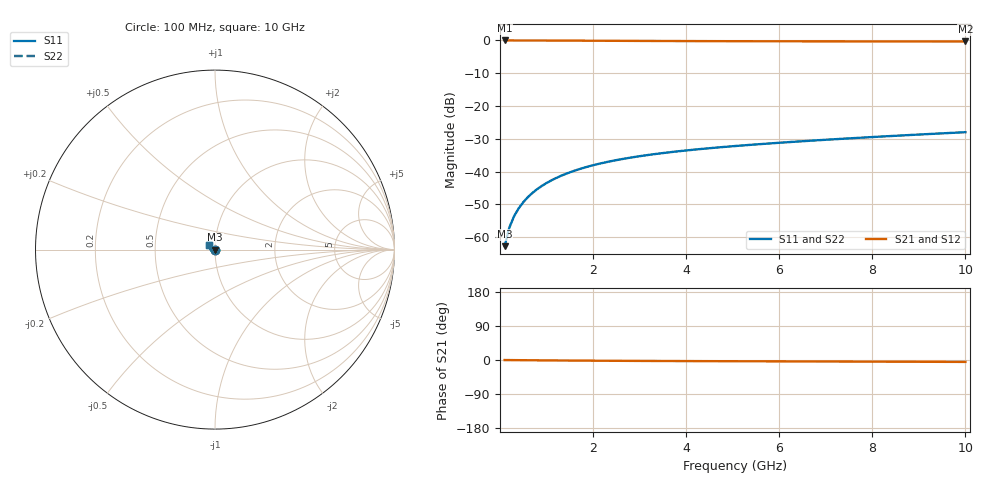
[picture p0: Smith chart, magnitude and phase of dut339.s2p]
! Touchstone file exported from HFSS 2024.1.0
!  File:  C:/UserFiles/LocalFiles/RDL_TSV_Batchsim/temp_TSV1_339_1779618813.aedt
!  Generated:  06:40:05 PM May 24, 2026
!  Design:  TSV1
!  Project:  temp_TSV1_339_1779618813
!  Setup:  Setup1
!  Solution:  Sweep
! Variables:
!  dtsv = 7.28um
!  hbump = 3um
!  htsv = 72.21um
!  lrdl = 252.1521522um
!  p = 40
!  p1 = 59.44um
!  t = 500um
!  trdl = 3um
!  wrdl = 24.89489489um
# GHz S MA R 50.000000
! Terminal data exported
! Port[1] = TSV22_T1
! Port[2] = TSV22_T2
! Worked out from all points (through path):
!   100 points, 100 MHz to 10 GHz, reference 50 ohm
!   highest |S21| = 0.00 dB at 100 MHz (marker M1); lowest = -0.3 dB at 10 GHz (marker M2)
!   lowest |S11| = -62.7 dB at 100 MHz (marker M3), VSWR 1.00, Z = 50 - j0.0696 ohm
!   |S11| at or under -10 dB: start of sweep to end of sweep
!   |S22| runs from -62.7 to -28.0 dB; largest |S21 - S12| = 2.7e-15
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0.1  0.0007313 -72.2  0.9997 -0.1  0.9997 -0.1  0.0007313 -72.2
! Gamma 0 0 0 0
! Port Impedance 50 0 50 0
0.2  0.001394 -84.5  0.9996 -0.2  0.9996 -0.2  0.001394 -84.5
0.3  0.002069 -90.4  0.9995 -0.3  0.9995 -0.3  0.002069 -90.4
0.4  0.002746 -94.7  0.9992 -0.4  0.9992 -0.4  0.002746 -94.7
0.5  0.00342 -98.2  0.999 -0.5  0.999 -0.5  0.00342 -98.2
0.6  0.00409 -101.3  0.9986 -0.6  0.9986 -0.6  0.00409 -101.3
0.7  0.004754 -104.2  0.9982 -0.7  0.9982 -0.7  0.004754 -104.2
0.8  0.005412 -107.0  0.9978 -0.8  0.9978 -0.8  0.005412 -107.0
0.9  0.006063 -109.6  0.9973 -0.9  0.9973 -0.9  0.006063 -109.6
1.1  0.007337 -114.7  0.9963 -1.1  0.9963 -1.1  0.007337 -114.7
1.4  0.00917 -121.8  0.9945 -1.4  0.9945 -1.4  0.00917 -121.8
1.6  0.01033 -126.3  0.9932 -1.5  0.9932 -1.5  0.01033 -126.3
1.8  0.01145 -130.6  0.9918 -1.7  0.9918 -1.7  0.01145 -130.6
2.1  0.01303 -136.8  0.9897 -1.9  0.9897 -1.9  0.01303 -136.8
2.5  0.01499 -144.5  0.987 -2.1  0.987 -2.1  0.01499 -144.5
2.9  0.01677 -151.6  0.9844 -2.4  0.9844 -2.4  0.01677 -151.6
3.4  0.01881 -159.6  0.9814 -2.6  0.9814 -2.6  0.01881 -159.6
4.2  0.02174 -171.0  0.9772 -2.9  0.9772 -2.9  0.02174 -171.0
5.1  0.02473 178.3  0.9736 -3.3  0.9736 -3.3  0.02473 178.3
6.7  0.0297 163.1  0.9691 -3.9  0.9691 -3.9  0.0297 163.1
8.4  0.03491 151.0  0.966 -4.5  0.966 -4.5  0.03491 151.0
10  0.03993 142.1  0.9639 -5.1  0.9639 -5.1  0.03993 142.1
